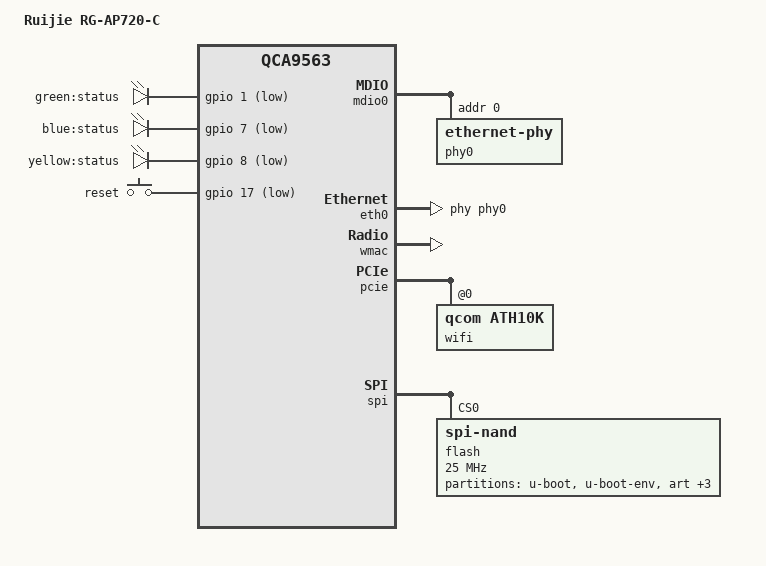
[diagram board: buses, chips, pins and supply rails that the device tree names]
// SPDX-License-Identifier: GPL-2.0-or-later OR MIT
//
// Ruijie RG-AP720-C  (also sold as iKuai W7 / IK-W7)
//
// SoC:   Qualcomm QCA9563 (2.4GHz ath9k built-in)
// 5GHz:  Qualcomm QCA9888 (ath10k on PCIe)
// Switch: Qualcomm QCA8337 (single 1000M PoE LAN port, SGMII to CPU)
// Flash: 16MB SPI-NAND, bootloader: Breed
//
// Flash layout (Breed):
//   u-boot      0x000000-0x040000 (256k)
//   u-boot-env  0x040000-0x050000 (64k)
//   art         0x050000-0x060000 (64k)
//   kernel      0x060000-0x1d0000 (1472k)
//   rootfs/ubi  0x1d0000-0xff0000 (14464k)
//   ikdbg       0xff0000-0x1000000 (64k)

#include "qca956x.dtsi"

#include <dt-bindings/gpio/gpio.h>
#include <dt-bindings/input/input.h>
#include <dt-bindings/leds/common.h>

/ {
	model = "Ruijie RG-AP720-C";
	compatible = "ruijie,rg-ap720-c", "qca,qca9563";

	aliases {
		label-mac-device = &eth0;
		led-boot = &led_blue;
		led-failsafe = &led_blue;
		led-running = &led_blue;
		led-upgrade = &led_blue;
	};

	chosen {
		bootargs = "console=ttyS0,115200 root=ubi0:rootfs ubi.mtd=ubi";
	};

	leds {
		compatible = "gpio-leds";

		pinctrl-names = "default";
		pinctrl-0 = <&jtag_disable_pins>;

		led_green: green {
			label = "green:status";
			gpios = <&gpio 1 GPIO_ACTIVE_LOW>;
		};

		led_blue: blue {
			label = "blue:status";
			gpios = <&gpio 7 GPIO_ACTIVE_LOW>;
			default-state = "keep";
		};

		led_yellow: yellow {
			label = "yellow:status";
			gpios = <&gpio 8 GPIO_ACTIVE_LOW>;
		};
	};

	keys {
		compatible = "gpio-keys";

		pinctrl-names = "default";
		pinctrl-0 = <&jtag_disable_pins>;

		reset {
			label = "reset";
			linux,code = <KEY_RESTART>;
			gpios = <&gpio 17 GPIO_ACTIVE_LOW>;
			debounce-interval = <60>;
		};
	};
};

&mdio0 {
	status = "okay";

	phy0: ethernet-phy@0 {
		reg = <0>;
		phy-mode = "sgmii";
		qca,ar8327-initvals = <
			0x04 0x00080080 /* PORT0 PAD MODE CTRL */
			0x7c 0x0000007e /* PORT0_STATUS */
		>;
	};
};

&eth0 {
	status = "okay";
	phy-handle = <&phy0>;

	nvmem-cells = <&macaddr_art_0 0>;
	nvmem-cell-names = "mac-address";
};

&wmac {
	status = "okay";

	nvmem-cells = <&macaddr_art_0 1>;
	nvmem-cell-names = "mac-address";
};

&pcie {
	status = "okay";

	wifi@0,0 {
		compatible = "qcom,ath10k";
		reg = <0x0000 0 0 0 0>;
		nvmem-cells = <&macaddr_art_0 2>;
		nvmem-cell-names = "mac-address";
	};
};

&spi {
	status = "okay";

	flash@0 {
		compatible = "spi-nand";
		reg = <0>;
		spi-max-frequency = <25000000>;

		partitions {
			compatible = "fixed-partitions";
			#address-cells = <1>;
			#size-cells = <1>;

			partition@0 {
				label = "u-boot";
				reg = <0x0 0x40000>;
				read-only;
			};

			partition@40000 {
				label = "u-boot-env";
				reg = <0x40000 0x10000>;
				read-only;
			};

			partition@50000 {
				label = "art";
				reg = <0x50000 0x10000>;
				read-only;

				nvmem-layout {
					compatible = "fixed-layout";
					#address-cells = <1>;
					#size-cells = <1>;

					macaddr_art_0: macaddr@0 {
						compatible = "mac-base";
						reg = <0x0 0x6>;
						#nvmem-cell-cells = <1>;
					};
				};
			};

			partition@60000 {
				label = "kernel";
				reg = <0x60000 0x170000>;
			};

			partition@1d0000 {
				label = "ubi";
				reg = <0x1d0000 0xe20000>;
			};

			partition@ff0000 {
				label = "ikdbg";
				reg = <0xff0000 0x10000>;
				read-only;
			};
		};
	};
};

[exit=0]
